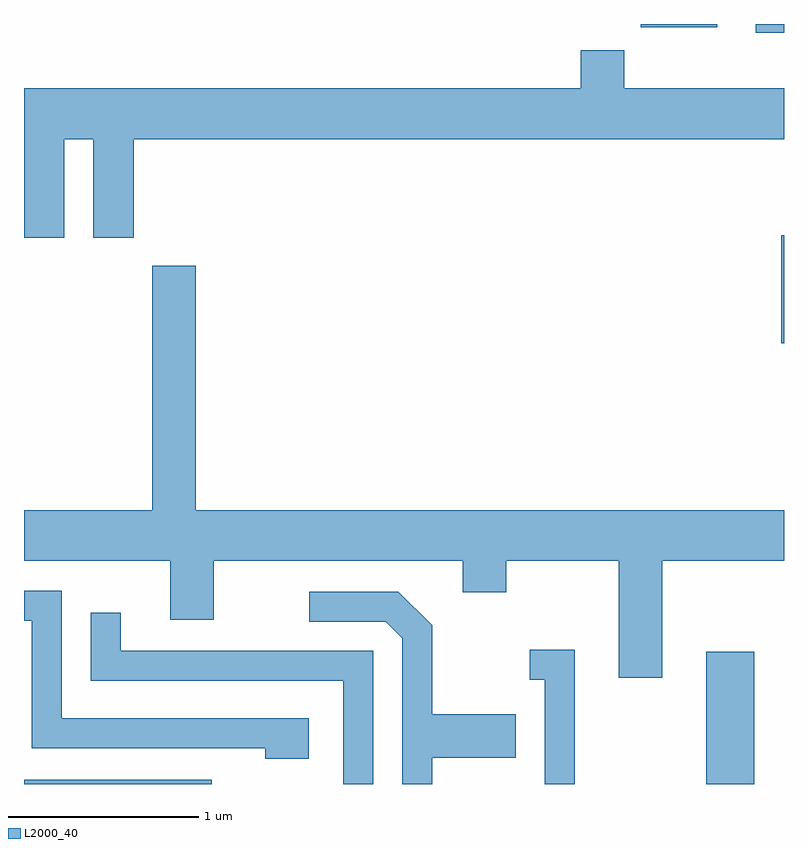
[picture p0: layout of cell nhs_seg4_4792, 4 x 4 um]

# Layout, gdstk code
import gdstk
lib = gdstk.Library(unit=1e-6, precision=1e-09)
def R(c, l, rs):  # rectangles x0, y0, x1, y1
    for r in rs: c.add(gdstk.rectangle(r[:2], r[2:], *l))
def P(c, l, *ps):  # polygons
    for p in ps: c.add(gdstk.Polygon(p, *l))
L2000_40 = (2000, 40)

nhs_seg4_4792 = lib.new_cell('nhs_seg4_4792')
R(nhs_seg4_4792, L2000_40, [(325.611,1317.982,326.598,1318.004), (329.201,1317.982,329.454,1318.679), (329.596,1320.301,329.611,1320.869), (329.461,1321.936,329.611,1321.982), (328.856,1321.966,329.259,1321.982)])
P(nhs_seg4_4792, L2000_40, [(325.824,1321.376),(325.976,1321.376),(325.976,1320.856),(326.189,1320.856),(326.189,1321.376),(329.611,1321.376),(329.611,1321.644),(328.769,1321.644),(328.769,1321.844),(328.541,1321.844),(328.541,1321.644),(325.611,1321.644),(325.611,1320.856),(325.824,1320.856)],
  [(326.514,1320.709),(326.286,1320.709),(326.286,1319.424),(325.611,1319.424),(325.611,1319.156),(326.381,1319.156),(326.381,1318.846),(326.609,1318.846),(326.609,1319.156),(327.921,1319.156),(327.921,1318.991),(328.149,1318.991),(328.149,1319.156),(328.741,1319.156),(328.741,1318.541),(328.969,1318.541),(328.969,1319.156),(329.611,1319.156),(329.611,1319.424),(326.514,1319.424)],
  [(327.109,1318.329),(325.809,1318.329),(325.809,1318.999),(325.611,1318.999),(325.611,1318.841),(325.651,1318.841),(325.651,1318.171),(326.881,1318.171),(326.881,1318.116),(327.109,1318.116)],
  [(327.759,1318.121),(328.199,1318.121),(328.199,1318.349),(327.759,1318.349),(327.759,1318.817),(327.582,1318.994),(327.113,1318.994),(327.113,1318.836),(327.514,1318.836),(327.601,1318.749),(327.601,1317.982),(327.759,1317.982)],
  [(327.449,1318.684),(326.119,1318.684),(326.119,1318.883),(325.961,1318.883),(325.961,1318.526),(327.291,1318.526),(327.291,1317.982),(327.449,1317.982)],
  [(328.509,1318.689),(328.273,1318.689),(328.273,1318.531),(328.351,1318.531),(328.351,1317.982),(328.509,1317.982)])

lib.write_gds('nhs_seg4_4792.gds')
